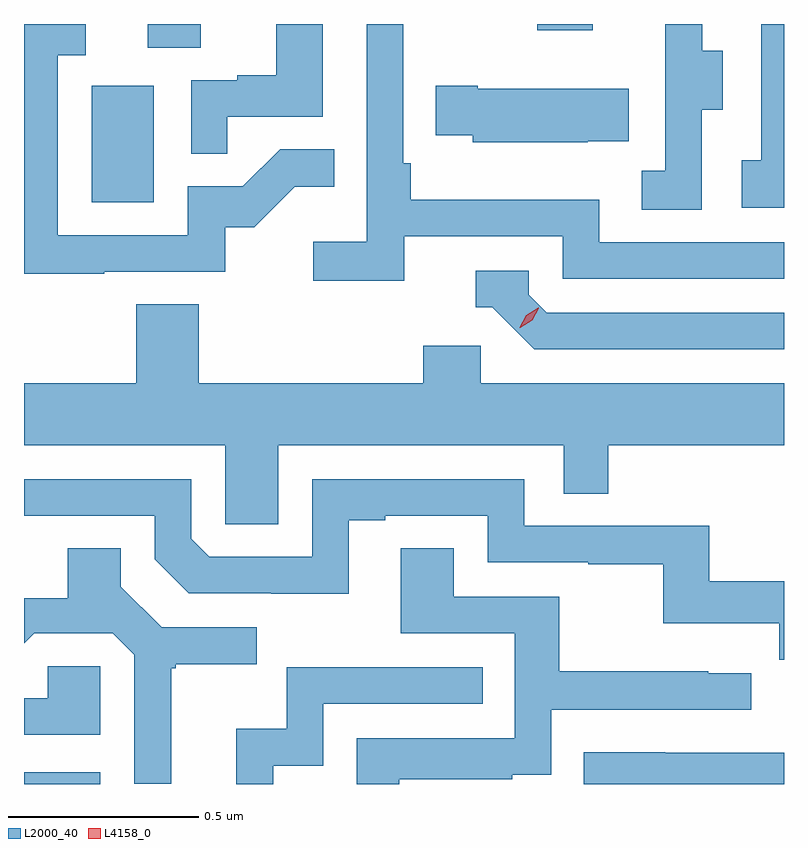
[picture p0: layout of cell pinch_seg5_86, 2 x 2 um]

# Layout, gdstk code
import gdstk
lib = gdstk.Library(unit=1e-6, precision=1e-09)
def R(c, l, rs):  # rectangles x0, y0, x1, y1
    for r in rs: c.add(gdstk.rectangle(r[:2], r[2:], *l))
def P(c, l, *ps):  # polygons
    for p in ps: c.add(gdstk.Polygon(p, *l))
L2000_40 = (2000, 40)
L4158_0 = (4158, 0)

pinch_seg5_86 = lib.new_cell('pinch_seg5_86')
R(pinch_seg5_86, L2000_40, [(1034.05,897.161,1034.25,897.192), (1034.228,898.692,1034.392,898.999), (1034.375,899.098,1034.515,899.161), (1035.4,899.145,1035.547,899.161)])
P(pinch_seg5_86, L2000_40, [(1036.05,899.161),(1035.99,899.161),(1035.99,898.802),(1035.939,898.802),(1035.939,898.677),(1036.05,898.677)],
  [(1035.834,898.936),(1035.889,898.936),(1035.889,899.091),(1035.835,899.091),(1035.835,899.161),(1035.737,899.161),(1035.737,899.079),(1035.738,899.079),(1035.738,898.775),(1035.675,898.775),(1035.675,898.672),(1035.834,898.672)],
  [(1034.261,898.509),(1034.58,898.509),(1034.58,898.626),(1034.656,898.626),(1034.763,898.733),(1034.867,898.733),(1034.867,898.832),(1034.724,898.832),(1034.626,898.734),(1034.481,898.734),(1034.481,898.605),(1034.139,898.605),(1034.139,899.079),(1034.212,899.079),(1034.212,899.161),(1034.05,899.161),(1034.05,898.504),(1034.261,898.504)],
  [(1034.585,898.917),(1034.836,898.917),(1034.836,899.161),(1034.714,899.161),(1034.714,899.026),(1034.611,899.026),(1034.611,899.013),(1034.49,899.013),(1034.49,898.819),(1034.585,898.819)],
  [(1035.05,898.602),(1035.468,898.602),(1035.468,898.491),(1036.05,898.491),(1036.05,898.587),(1035.564,898.587),(1035.564,898.699),(1035.068,898.699),(1035.068,898.795),(1035.048,898.795),(1035.048,899.161),(1034.952,899.161),(1034.952,898.588),(1034.811,898.588),(1034.811,898.486),(1035.05,898.486)],
  [(1035.533,898.853),(1035.641,898.853),(1035.641,898.99),(1035.244,898.99),(1035.244,898.998),(1035.133,898.998),(1035.133,898.868),(1035.231,898.868),(1035.231,898.85),(1035.533,898.85)],
  [(1036.05,898.401),(1035.426,898.401),(1035.378,898.449),(1035.378,898.512),(1035.239,898.512),(1035.239,898.416),(1035.282,898.416),(1035.393,898.305),(1036.05,898.305)],
  [(1034.719,898.052),(1035.471,898.052),(1035.471,897.925),(1035.587,897.925),(1035.587,898.052),(1036.05,898.052),(1036.05,898.216),(1035.252,898.216),(1035.252,898.314),(1035.101,898.314),(1035.101,898.216),(1034.51,898.216),(1034.51,898.424),(1034.345,898.424),(1034.345,898.216),(1034.05,898.216),(1034.05,898.052),(1034.58,898.052),(1034.58,897.844),(1034.719,897.844)],
  [(1036.05,897.694),(1035.853,897.694),(1035.853,897.84),(1035.366,897.84),(1035.366,897.963),(1034.808,897.963),(1034.808,897.759),(1034.538,897.759),(1034.49,897.807),(1034.49,897.963),(1034.05,897.963),(1034.05,897.867),(1034.394,897.867),(1034.394,897.753),(1034.484,897.663),(1034.7,897.663),(1034.7,897.662),(1034.905,897.662),(1034.905,897.855),(1035.001,897.855),(1035.001,897.867),(1035.27,897.867),(1035.27,897.744),(1035.535,897.744),(1035.535,897.739),(1035.732,897.739),(1035.732,897.584),(1036.037,897.584),(1036.037,897.488),(1036.05,897.488)],
  [(1034.437,897.465),(1034.449,897.465),(1034.449,897.476),(1034.662,897.476),(1034.662,897.573),(1034.412,897.573),(1034.305,897.68),(1034.305,897.782),(1034.165,897.782),(1034.165,897.65),(1034.05,897.65),(1034.05,897.531),(1034.077,897.558),(1034.283,897.558),(1034.34,897.501),(1034.34,897.162),(1034.437,897.162)],
  [(1035.037,897.174),(1035.335,897.174),(1035.335,897.185),(1035.438,897.185),(1035.438,897.357),(1035.964,897.357),(1035.964,897.453),(1035.851,897.453),(1035.851,897.458),(1035.458,897.458),(1035.458,897.654),(1035.181,897.654),(1035.181,897.782),(1035.041,897.782),(1035.041,897.558),(1035.342,897.558),(1035.342,897.282),(1034.926,897.282),(1034.926,897.161),(1035.037,897.161)],
  [(1034.25,897.471),(1034.113,897.471),(1034.113,897.387),(1034.05,897.387),(1034.05,897.291),(1034.25,897.291)],
  [(1034.706,897.209),(1034.838,897.209),(1034.838,897.372),(1035.257,897.372),(1035.257,897.468),(1034.742,897.468),(1034.742,897.307),(1034.609,897.307),(1034.609,897.161),(1034.706,897.161)],
  [(1036.05,897.243),(1035.737,897.243),(1035.737,897.244),(1035.523,897.244),(1035.523,897.161),(1036.05,897.161)])
P(pinch_seg5_86, L4158_0, [(1035.355,898.362),(1035.355,898.363),(1035.372,898.395),(1035.403,898.414),(1035.404,898.414),(1035.404,898.413),(1035.387,898.381),(1035.356,898.362)])

lib.write_gds('pinch_seg5_86.gds')
